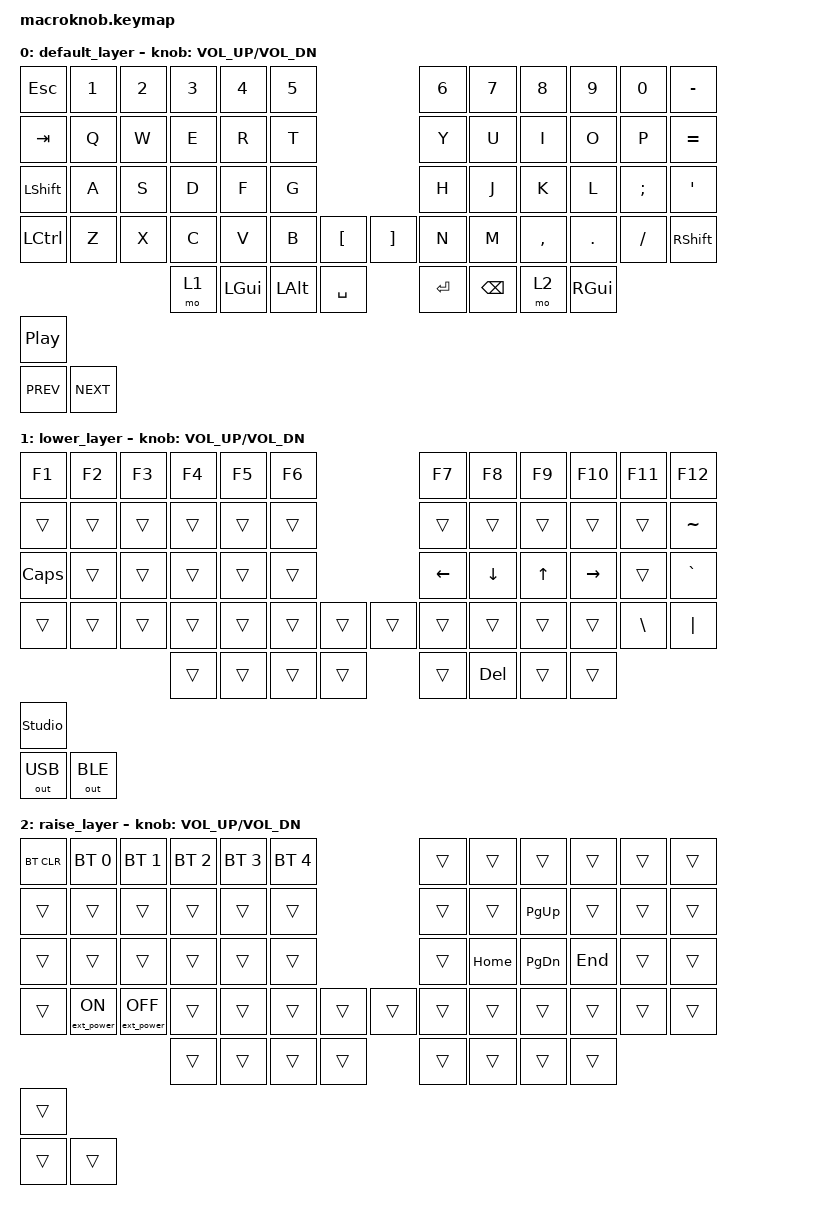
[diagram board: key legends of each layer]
/*
 * Copyright (c) 2022 The ZMK Contributors
 *
 * SPDX-License-Identifier: MIT
 */

#include <behaviors.dtsi>
#include <dt-bindings/zmk/keys.h>
#include <dt-bindings/zmk/bt.h>
#include <dt-bindings/zmk/ext_power.h>
#include <dt-bindings/zmk/outputs.h>


// |     Knob     |
// | Left | Right |

/ {
    keymap {
        compatible = "zmk,keymap";

        default_layer {
           bindings = <

// Insert your existing keyboard's keymap here

// Lily58 -----------------------------------------------------------------------------------------------------
// |  ESC  |  1  |  2  |  3   |  4   |  5   |                   |  6   |  7    |  8    |  9   |   0   |   -   |
// |  TAB  |  Q  |  W  |  E   |  R   |  T   |                   |  Y   |  U    |  I    |  O   |   P   |   =   |
// | SHIFT |  A  |  S  |  D   |  F   |  G   |                   |  H   |  J    |  K    |  L   |   ;   |   '   |
// |  CTRL |  Z  |  X  |  C   |  V   |  B   |   "["  |  |  "]"  |  N   |  M    |  ,    |  .   |   /   | SHIFT |
//                     |LOWER | LGUI | LALT |  SPACE |  | ENTER | BSPC | RAISE |  GUI  |
&kp ESC   &kp N1 &kp N2 &kp N3   &kp N4   &kp N5                     &kp N6 &kp N7   &kp N8    &kp N9  &kp N0   &kp MINUS
&kp TAB   &kp Q  &kp W  &kp E    &kp R    &kp T                      &kp Y  &kp U    &kp I     &kp O   &kp P    &kp EQUAL
&kp LSHFT &kp A  &kp S  &kp D    &kp F    &kp G                      &kp H  &kp J    &kp K     &kp L   &kp SEMI &kp SQT
&kp LCTRL &kp Z  &kp X  &kp C    &kp V    &kp B  &kp LBKT   &kp RBKT &kp N  &kp M    &kp COMMA &kp DOT &kp FSLH &kp RSHFT
                        &mo 1    &kp LGUI &kp LALT &kp SPACE  &kp RET  &kp BSPC  &mo 2  &kp RGUI
			
// Below is the MacroKnob's
// On all layers, make sure the Macroknob's 3 keys are behind your existing's rows
&kp C_PLAY_PAUSE
&kp C_PREV  &kp C_NEXT

            >;

            sensor-bindings = <&inc_dec_kp C_VOL_UP C_VOL_DN>; // Add more bindings here if your existing keyboard has encoders
        };

        lower_layer {
// |     K     |
// |  Z  |  M  |
            bindings = <
// Insert your existing keyboard's keymap here

// Lily58 -----------------------------------------------------------------------------------------------------
// |  F1   |  F2 |  F3 |  F4  |  F5  |  F6  |                   |  F7  |  F8   |  F9   |  F10 |  F11  |  F12  |
// |       |     |     |      |      |      |                   |      |       |       |      |       |   ~   |
// |  CAPS |     |     |      |      |      |                   | LEFT | DOWN  |   UP  | RIGHT|       |   `   |
// |       |     |     |      |      |      |        |  |       |      |       |       |      |   \   |   |   |
//                     |      |      |      |        |  |  DEL  |      |       |       |

&kp F1     &kp F2           &kp F3            &kp F4            &kp F5       &kp F6                       &kp F7    &kp F8    &kp F9       &kp F10   &kp F11   &kp F12
&trans     &trans           &trans            &trans            &trans       &trans                       &trans    &trans    &trans       &trans    &trans    &kp TILDE
&kp CAPS   &trans           &trans            &trans            &trans       &trans                       &kp LEFT  &kp DOWN  &kp UP       &kp RIGHT &trans    &kp GRAVE
&trans     &trans           &trans            &trans            &trans       &trans    &trans   &trans    &trans    &trans    &trans       &trans    &kp BSLH  &kp PIPE
                                              &trans            &trans       &trans    &trans   &trans    &kp DEL   &trans    &trans

// Below is the MacroKnob's
&studio_unlock
&out OUT_USB  &out OUT_BLE
            >;

            sensor-bindings = <&inc_dec_kp C_VOL_UP C_VOL_DN>;
        };

        raise_layer {
            bindings = <
// Insert your existing keyboard's keymap here

// Lily58 ----------------------------------------------------------------------------------------------------
// | BTCLR | BT1 | BT2 |  BT3 |  BT4 |  BT5 |                   |      |       |       |      |       |      |
// |       |     |     |      |      |      |                   |      |       | PGUP  |      |       |      |
// |       |     |     |      |      |      |                   |      |  HOME |  PGDN |  END |       |      |
// |       |EP ON|EPOFF|      |      |      |                   |      |       |       |      |       |      |
//                     |      |      |      |        |  |       |      |       |       |

&bt BT_CLR &bt BT_SEL 0  &bt BT_SEL 1  &bt BT_SEL 2  &bt BT_SEL 3   &bt BT_SEL 4   &trans      &trans    &trans    &trans   &trans    &trans
&trans     &trans  &trans &trans  &trans  &trans                       &trans      &trans      &kp PG_UP    &trans   &trans    &trans
&trans     &trans  &trans &trans  &trans  &trans                       &trans      &kp HOME    &kp PG_DN    &kp END   &trans    &trans
&trans     &ext_power EP_ON  &ext_power EP_OFF &trans  &trans  &trans   &trans   &trans    &trans      &trans    &trans    &trans   &trans    &trans
                          &trans  &trans  &trans    &trans   &trans    &trans      &trans    &trans

// Below is the MacroKnob's			
&trans
&trans  &trans
            >;

            sensor-bindings = <&inc_dec_kp C_VOL_UP C_VOL_DN>;
        };
    };
};
